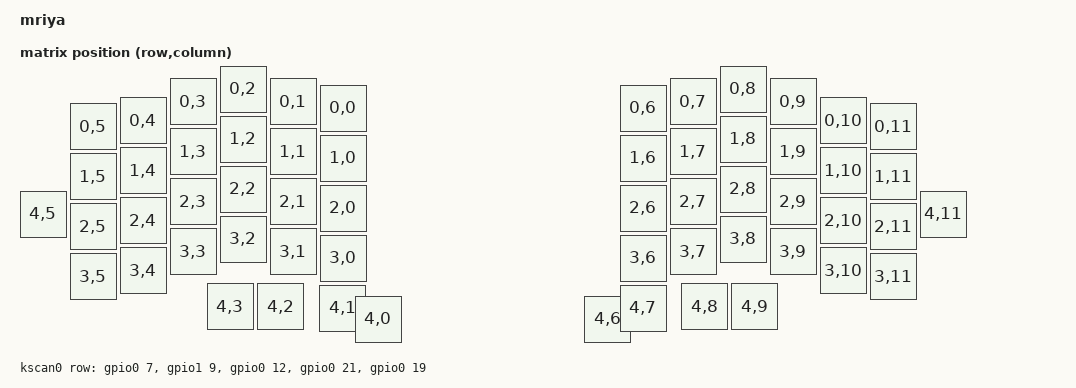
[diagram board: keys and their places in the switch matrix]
/*
 * Copyright (c) 2023 Andrei Gaevskii
 *
 * SPDX-License-Identifier: MIT
 */

/dts-v1/;
#include <nordic/nrf52840_qiaa.dtsi>

#include <dt-bindings/zmk/matrix_transform.h>
#include <physical_layouts.dtsi>
#include "mriya-layouts.dtsi"


/ {
	model = "mriya";
	compatible = "mriya";

	chosen {
		zephyr,code-partition = &code_partition;
		zephyr,sram = &sram0;
		zephyr,flash = &flash0;
		zmk,kscan = &kscan0;
		zmk,battery = &vbatt;
		zephyr,console = &cdc_acm_uart0;
		zmk,physical_layout = <&mriya_position_map>;
	};

	physical_layout: physical_layout {
		compatible = "zmk,physical-layout";
		display-name = "Mriya";
		transform = <&default_transform>;
		keys = <
			// Row 0
			&key_physical_attrs 100 100  100  75    0    0    0
			&key_physical_attrs 100 100  200  63    0    0    0
			&key_physical_attrs 100 100  300  25    0    0    0
			&key_physical_attrs 100 100  400   0    0    0    0
			&key_physical_attrs 100 100  500  25    0    0    0
			&key_physical_attrs 100 100  600  38    0    0    0
			&key_physical_attrs 100 100 1200  38    0    0    0
			&key_physical_attrs 100 100 1300  25    0    0    0
			&key_physical_attrs 100 100 1400   0    0    0    0
			&key_physical_attrs 100 100 1500  25    0    0    0
			&key_physical_attrs 100 100 1600  63    0    0    0
			&key_physical_attrs 100 100 1700  75    0    0    0

			// Row 1
			&key_physical_attrs 100 100    0 250    0    0    0
			&key_physical_attrs 100 100  100 175    0    0    0
			&key_physical_attrs 100 100  200 163    0    0    0
			&key_physical_attrs 100 100  300 125    0    0    0
			&key_physical_attrs 100 100  400 100    0    0    0
			&key_physical_attrs 100 100  500 125    0    0    0
			&key_physical_attrs 100 100  600 138    0    0    0
			&key_physical_attrs 100 100 1200 138    0    0    0
			&key_physical_attrs 100 100 1300 125    0    0    0
			&key_physical_attrs 100 100 1400 100    0    0    0
			&key_physical_attrs 100 100 1500 125    0    0    0
			&key_physical_attrs 100 100 1600 163    0    0    0
			&key_physical_attrs 100 100 1700 175    0    0    0
			&key_physical_attrs 100 100 1800 250    0    0    0

			// Row 2
			&key_physical_attrs 100 100  100 275    0    0    0
			&key_physical_attrs 100 100  200 263    0    0    0
			&key_physical_attrs 100 100  300 225    0    0    0
			&key_physical_attrs 100 100  400 200    0    0    0
			&key_physical_attrs 100 100  500 225    0    0    0
			&key_physical_attrs 100 100  600 238    0    0    0
			&key_physical_attrs 100 100 1200 238    0    0    0
			&key_physical_attrs 100 100 1300 225    0    0    0
			&key_physical_attrs 100 100 1400 200    0    0    0
			&key_physical_attrs 100 100 1500 225    0    0    0
			&key_physical_attrs 100 100 1600 263    0    0    0
			&key_physical_attrs 100 100 1700 275    0    0    0

			// Row 3
			&key_physical_attrs 100 100  100 375    0    0    0
			&key_physical_attrs 100 100  200 363    0    0    0
			&key_physical_attrs 100 100  300 325    0    0    0
			&key_physical_attrs 100 100  400 300    0    0    0
			&key_physical_attrs 100 100  500 325    0    0    0
			&key_physical_attrs 100 100  600 338    0    0    0
			&key_physical_attrs 100 100 1200 338    0    0    0
			&key_physical_attrs 100 100 1300 325    0    0    0
			&key_physical_attrs 100 100 1400 300    0    0    0
			&key_physical_attrs 100 100 1500 325    0    0    0
			&key_physical_attrs 100 100 1600 363    0    0    0
			&key_physical_attrs 100 100 1700 375    0    0    0

			// Row 4 (thumb keys)
			&key_physical_attrs 100 100  375 435  -12  475 535
			&key_physical_attrs 100 100  475 435    0    0   0
			&key_physical_attrs 100 100  600 438   15  600 438
			&key_physical_attrs 100 100  670 460   30  670 560
			&key_physical_attrs 100 100 1130 460  -30 1230 560
			&key_physical_attrs 100 100 1200 438  -15 1300 438
			&key_physical_attrs 100 100 1323 435    0    0   0
			&key_physical_attrs 100 100 1423 435   12 1423 535
		>;
	};

	default_transform: keymap_transform_0 {
		compatible = "zmk,matrix-transform";
		columns = <12>;
		rows = <5>;
		map = <
					RC(0,5) RC(0,4) RC(0,3) RC(0,2) RC(0,1) RC(0,0)  RC(0,6) RC(0,7) RC(0,8) RC(0,9) RC(0,10) RC(0,11)
            RC(4,5) RC(1,5) RC(1,4) RC(1,3) RC(1,2) RC(1,1) RC(1,0)  RC(1,6) RC(1,7) RC(1,8) RC(1,9) RC(1,10) RC(1,11) RC(4,11)
                    RC(2,5) RC(2,4) RC(2,3) RC(2,2) RC(2,1) RC(2,0)  RC(2,6) RC(2,7) RC(2,8) RC(2,9) RC(2,10) RC(2,11)
                    RC(3,5) RC(3,4) RC(3,3) RC(3,2) RC(3,1) RC(3,0)  RC(3,6) RC(3,7) RC(3,8) RC(3,9) RC(3,10) RC(3,11)
                                    RC(4,3) RC(4,2) RC(4,1) RC(4,0)  RC(4,6) RC(4,7) RC(4,8) RC(4,9)
		>;
	};

	kscan0: kscan {
		compatible = "zmk,kscan-gpio-matrix";
		label = "KSCAN";

		wakeup-source;

		diode-direction = "col2row";
		row-gpios
			= <&gpio0  7 (GPIO_ACTIVE_HIGH | GPIO_PULL_DOWN)>
			, <&gpio1  9 (GPIO_ACTIVE_HIGH | GPIO_PULL_DOWN)>
			, <&gpio0 12 (GPIO_ACTIVE_HIGH | GPIO_PULL_DOWN)>
			, <&gpio0 21 (GPIO_ACTIVE_HIGH | GPIO_PULL_DOWN)>
			, <&gpio0 19 (GPIO_ACTIVE_HIGH | GPIO_PULL_DOWN)>
			;
	};

	leds {
		compatible = "gpio-leds";
		blue_led: led_0 {
			gpios = <&gpio0 23 GPIO_ACTIVE_HIGH>;
			label = "Blue LED";
		};
	};

	vbatt: vbatt {
		compatible = "zmk,battery-voltage-divider";
		label = "VBATT";
		io-channels = <&adc 0>;
		output-ohms = <2000000>;
		full-ohms = <(2000000 + 806000)>;
	};

};


&adc {
	status = "okay";
};

&gpiote {
	status = "okay";
};

&gpio0 {
	status = "okay";
};

&gpio1 {
	status = "okay";
};

&usbd {
    status = "okay";
};

zephyr_udc0: &usbd {
    compatible = "nordic,nrf-usbd";
    status = "okay";
    reg = <0x40027000 0x1000>;
    interrupts = <39 1>;
    num-bidir-endpoints = <1>;
    num-in-endpoints = <7>;
    num-out-endpoints = <7>;
    num-isoin-endpoints = <1>;
    num-isoout-endpoints = <1>;
    cdc_acm_uart0: cdc_acm_uart {
        compatible = "zephyr,cdc-acm-uart";
        label = "CDC_ACM_0";
    };
};

&flash0 {
	/*
	 * For more information, see:
	 * http://docs.zephyrproject.org/latest/devices/dts/flash_partitions.html
	 */
	partitions {
		compatible = "fixed-partitions";
		#address-cells = <1>;
		#size-cells = <1>;

		sd_partition: partition@0 {
			label = "softdevice";
			reg = <0x00000000 0x00026000>;
		};
		code_partition: partition@26000 {
			label = "code_partition";
			reg = <0x00026000 0x000c6000>;
		};

		/*
		 * The flash starting at 0x000ec000 and ending at
		 * 0x000f3fff is reserved for use by the application.
		 */

		/*
		 * Storage partition will be used by FCB/LittleFS/NVS
		 * if enabled.
		 */
		storage_partition: partition@ec000 {
			label = "storage";
			reg = <0x000ec000 0x00008000>;
		};

		boot_partition: partition@f4000 {
			label = "adafruit_boot";
			reg = <0x000f4000 0x0000c000>;
		};
	};
};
